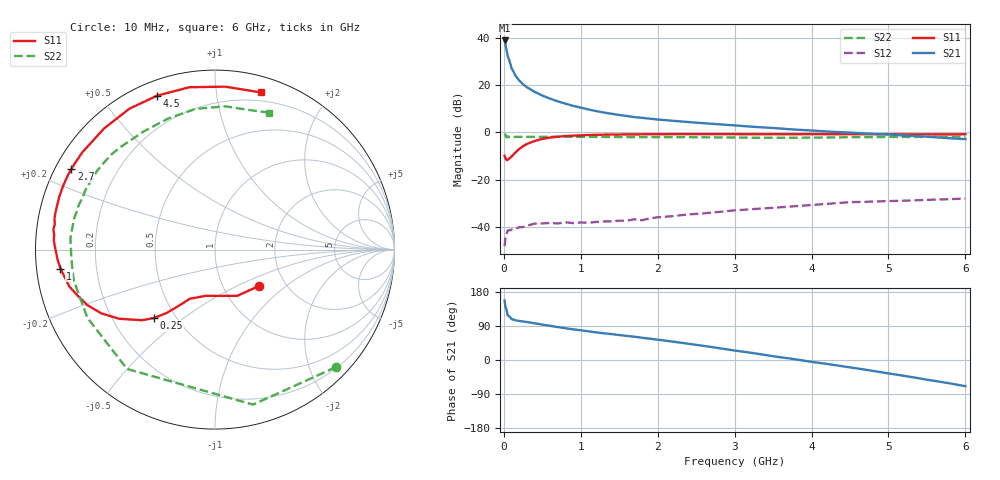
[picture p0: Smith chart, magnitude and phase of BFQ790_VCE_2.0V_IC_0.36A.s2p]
! Infineon Technologies  Discrete & RF Semiconductors
! BFQ790
! VCE =  2.0 V,  IC = 0.36 A
! Common Emitter S-Parameters:  May 2015
# GHz  S  MA  R  50
!  f  S11  S21  S12  S22
! GHz  MAG  ANG  MAG  ANG  MAG  ANG  MAG  ANG
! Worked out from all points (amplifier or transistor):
!   77 points, 10 MHz to 6 GHz, reference 50 ohm
!   highest |S21| = 38.9 dB at 10 MHz (marker M1)
!   |S21| within 3 dB of that: start of sweep to 28.96 MHz
!   unconditionally stable (mu >= 1): 179.1 MHz to end of sweep
!   at 130 MHz: K = 0.84, MSG = 33.2 dB, |S12| = -41.0 dB
!   at 2.2 GHz: K = 1.34, MAG = 16.7 dB, |S12| = -35.4 dB
!   at 6 GHz: K = 1.10, MAG = 10.7 dB, |S12| = -28.0 dB
!   S11 on the Smith chart (normalised r, x): 10 MHz: 1.47, -0.66; 250 MHz: 0.38, -0.39; 1 GHz: 0.07, -0.06; 2.7 GHz: 0.05, +0.26; 4.5 GHz: 0.06, +0.69; 6 GHz: 0.13, +1.33
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0.01  0.318 -39.6  88.14 156.8  0.0039 68.2  0.9396 -44.2
0.02  0.2857 -64.5  72.65 140.3  0.0057 49.6  0.8892 -76.2
0.05  0.2623 -101.0  41.06 117.8  0.0084 29.5  0.826 -126.4
0.1  0.3075 -117.1  22.74 108.0  0.0087 15.8  0.8061 -151.9
0.15  0.3734 -122.9  15.92 104.7  0.009 20.1  0.7993 -162.6
0.2  0.445 -127.4  12.51 103.1  0.0098 20.3  0.8049 -167.9
0.25  0.5101 -131.7  10.43 101.6  0.0099 20.3  0.8023 -171.6
0.3  0.5664 -136.0  8.985 100.2  0.0106 16.3  0.8011 -174.4
0.4  0.6585 -144.2  7.193 96.8  0.0117 14.9  0.8022 -178.6
0.5  0.7261 -150.7  6.01 93.4  0.0118 13.5  0.8038 178.4
0.7  0.8065 -161.4  4.53 86.9  0.0118 16.9  0.807 173.5
0.9  0.8517 -169.7  3.64 80.9  0.012 10.4  0.8035 170.2
1  0.8673 -173.0  3.332 78.4  0.0124 11.7  0.8042 168.4
1.1  0.8788 -176.3  3.051 75.6  0.0122 13.3  0.8027 166.7
1.5  0.8999 174.7  2.334 65.9  0.0135 16.9  0.797 161.1
2.1  0.9139 163.4  1.812 51.1  0.0164 18.9  0.7907 152.1
2.7  0.9171 150.7  1.518 34.2  0.02 14.8  0.7845 140.1
3.1  0.9135 141.5  1.364 22.3  0.0229 10.3  0.7735 131.0
4.1  0.9157 119.1  1.069 -7.6  0.0298 -6.3  0.776 107.3
4.5  0.9162 110.6  0.989 -19.6  0.0334 -14.2  0.7917 97.8
5.1  0.9111 96.5  0.878 -38.5  0.0354 -27.7  0.7986 83.9
6  0.9123 73.7  0.721 -69.2  0.0398 -48.7  0.8198 68.6
